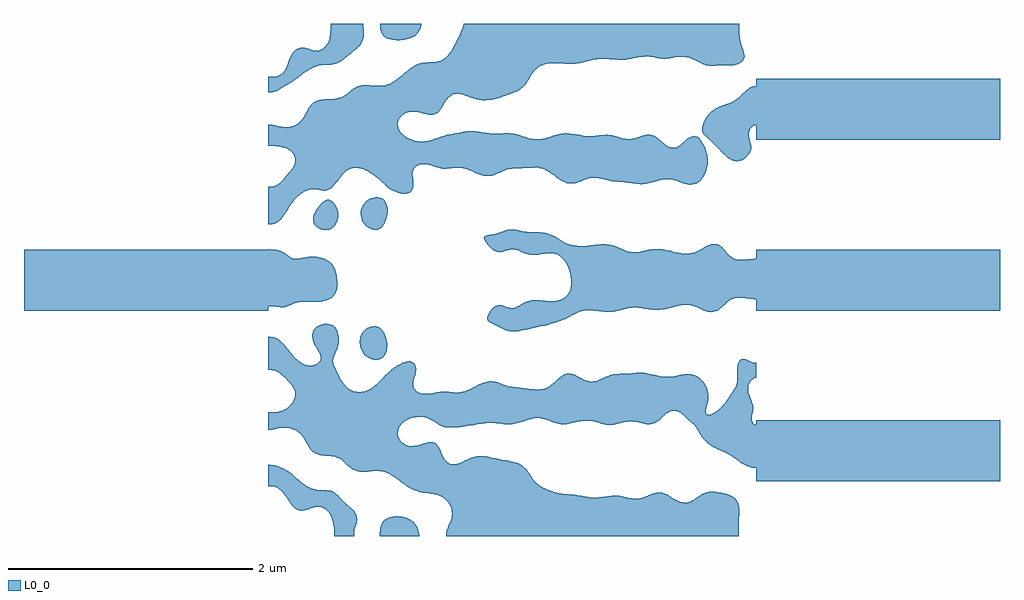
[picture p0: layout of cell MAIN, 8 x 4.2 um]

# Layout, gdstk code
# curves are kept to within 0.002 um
import gdstk
lib = gdstk.Library(unit=1e-6, precision=1e-09)
def R(c, l, rs):  # rectangles x0, y0, x1, y1
    for r in rs: c.add(gdstk.rectangle(r[:2], r[2:], *l))
def A(c, l, x, y, w, h, nx, ny, dx, dy):  # array of equal rectangles
    R(c, l, [(x+i*dx, y+j*dy, x+i*dx+w, y+j*dy+h) for i in range(nx) for j in range(ny)])
def P(c, l, *ps):  # polygons
    for p in ps: c.add(gdstk.Polygon(p, *l))
L0_0 = (0, 0)

main = lib.new_cell('MAIN')
A(main, L0_0, 2, -1.65, 2, 0.5, 1, 3, 0, 1.4)
R(main, L0_0, [(-4,-0.25,-2,0.25)])
P(main, L0_0, [(-1.967,1.54),(-1.933,1.549),(-1.817,1.615),(-1.7,1.701),(-1.633,1.74),(-1.6,1.754),(-1.567,1.762),(-1.5,1.764),(-1.45,1.773),(-1.422,1.783),(-1.383,1.807),(-1.27,1.9),(-1.241,1.933),(-1.23,1.95),(-1.218,1.983),(-1.215,2),(-1.22,2.1),(-1.485,2.1),(-1.489,2.017),(-1.5,1.967),(-1.516,1.933),(-1.533,1.91),(-1.55,1.895),(-1.583,1.88),(-1.6,1.879),(-1.617,1.88),(-1.7,1.903),(-1.733,1.903),(-1.767,1.891),(-1.783,1.877),(-1.804,1.85),(-1.854,1.733),(-1.883,1.693),(-1.9,1.681),(-1.933,1.668),(-2,1.664),(-2,1.538)],
  [(-0.917,1.967),(-0.85,1.976),(-0.833,1.981),(-0.8,1.998),(-0.783,2.012),(-0.765,2.033),(-0.749,2.067),(-0.744,2.1),(-1.081,2.1),(-1.078,2.05),(-1.073,2.033),(-1.067,2.02),(-1.05,1.998),(-1.029,1.983),(-1,1.973),(-0.967,1.968)],
  [(-1.967,0.456),(-1.933,0.468),(-1.917,0.478),(-1.893,0.5),(-1.866,0.533),(-1.789,0.65),(-1.75,0.692),(-1.717,0.717),(-1.667,0.739),(-1.633,0.744),(-1.583,0.741),(-1.533,0.732),(-1.5,0.742),(-1.483,0.754),(-1.45,0.787),(-1.388,0.867),(-1.367,0.888),(-1.35,0.9),(-1.333,0.909),(-1.3,0.919),(-1.283,0.921),(-1.25,0.916),(-1.25,1.592),(-1.267,1.586),(-1.3,1.567),(-1.367,1.514),(-1.4,1.497),(-1.45,1.485),(-1.567,1.477),(-1.6,1.469),(-1.617,1.46),(-1.633,1.45),(-1.65,1.434),(-1.673,1.4),(-1.707,1.333),(-1.733,1.3),(-1.753,1.283),(-1.783,1.265),(-1.817,1.255),(-1.85,1.251),(-1.867,1.252),(-1.95,1.269),(-2,1.272),(-2,1.099),(-1.917,1.096),(-1.883,1.09),(-1.833,1.07),(-1.807,1.05),(-1.793,1.033),(-1.783,1.017),(-1.776,0.983),(-1.781,0.95),(-1.798,0.917),(-1.896,0.8),(-1.933,0.775),(-1.967,0.765),(-2,0.763),(-2,0.455)],
  [(-0.85,0.71),(-0.833,0.719),(-0.821,0.733),(-0.812,0.75),(-0.808,0.783),(-0.815,0.85),(-0.814,0.883),(-0.81,0.9),(-0.801,0.917),(-0.783,0.933),(-0.767,0.942),(-0.75,0.947),(-0.717,0.949),(-0.683,0.944),(-0.583,0.916),(-0.55,0.912),(-0.55,1.184),(-0.683,1.141),(-0.733,1.134),(-0.783,1.139),(-0.817,1.148),(-0.85,1.162),(-0.9,1.197),(-0.917,1.217),(-0.926,1.233),(-0.937,1.267),(-0.933,1.3),(-0.927,1.317),(-0.917,1.333),(-0.9,1.351),(-0.867,1.371),(-0.817,1.38),(-0.783,1.378),(-0.7,1.357),(-0.65,1.353),(-0.633,1.357),(-0.614,1.367),(-0.6,1.378),(-0.583,1.398),(-0.55,1.456),(-0.55,1.816),(-0.583,1.796),(-0.6,1.791),(-0.633,1.785),(-0.717,1.782),(-0.75,1.776),(-0.778,1.767),(-0.833,1.734),(-0.917,1.664),(-0.967,1.628),(-1,1.61),(-1.033,1.598),(-1.083,1.591),(-1.183,1.597),(-1.217,1.597),(-1.25,1.592),(-1.25,0.916),(-1.204,0.9),(-1.145,0.867),(-1.083,0.82),(-1.017,0.758),(-0.983,0.736),(-0.933,0.716),(-0.9,0.707),(-0.867,0.706)],
  [(-0.543,1.467),(-0.517,1.5),(-0.5,1.512),(-0.483,1.521),(-0.45,1.526),(-0.4,1.518),(-0.333,1.494),(-0.267,1.477),(-0.217,1.474),(-0.167,1.478),(-0.1,1.495),(0.008,1.533),(0.067,1.562),(0.092,1.583),(0.117,1.612),(0.15,1.668),(0.15,2.1),(-0.397,2.1),(-0.399,2.083),(-0.411,2.05),(-0.476,1.917),(-0.517,1.851),(-0.531,1.833),(-0.55,1.816),(-0.55,1.456)],
  [(-0.167,0.855),(-0.133,0.865),(-0.067,0.896),(-0.033,0.907),(0,0.913),(0.15,0.92),(0.15,1.159),(0.05,1.19),(0,1.2),(-0.05,1.203),(-0.133,1.197),(-0.167,1.198),(-0.279,1.217),(-0.317,1.22),(-0.382,1.217),(-0.483,1.2),(-0.55,1.184),(-0.55,0.912),(-0.467,0.921),(-0.417,0.92),(-0.367,0.908),(-0.25,0.86),(-0.217,0.854)],
  [(0.159,1.683),(0.183,1.716),(0.217,1.745),(0.25,1.762),(0.283,1.772),(0.367,1.778),(0.45,1.773),(0.517,1.773),(0.567,1.78),(0.667,1.806),(0.7,1.811),(0.767,1.814),(0.9,1.805),(0.95,1.809),(1.033,1.826),(1.033,2.1),(0.15,2.1),(0.15,1.668)],
  [(0.183,0.921),(0.217,0.919),(0.267,0.906),(0.3,0.889),(0.4,0.817),(0.435,0.8),(0.467,0.791),(0.517,0.793),(0.633,0.836),(0.683,0.839),(0.717,0.834),(0.817,0.81),(0.917,0.803),(1.033,0.787),(1.033,1.17),(1,1.159),(0.95,1.155),(0.917,1.159),(0.833,1.182),(0.8,1.188),(0.767,1.189),(0.667,1.179),(0.617,1.179),(0.467,1.2),(0.433,1.201),(0.4,1.198),(0.35,1.188),(0.283,1.164),(0.25,1.156),(0.2,1.152),(0.15,1.159),(0.15,0.92)],
  [(1.083,1.831),(1.117,1.83),(1.25,1.814),(1.367,1.828),(1.4,1.83),(1.433,1.827),(1.467,1.818),(1.567,1.768),(1.583,1.762),(1.617,1.757),(1.783,1.76),(1.833,1.764),(1.85,1.769),(1.88,1.783),(1.895,1.8),(1.903,1.817),(1.906,1.833),(1.901,1.867),(1.878,1.933),(1.865,2),(1.861,2.1),(1.033,2.1),(1.033,1.826)],
  [(1.483,0.783),(1.525,0.8),(1.561,0.833),(1.573,0.85),(1.589,0.883),(1.601,0.933),(1.603,1),(1.589,1.067),(1.567,1.114),(1.532,1.167),(1.517,1.175),(1.5,1.178),(1.483,1.177),(1.467,1.172),(1.43,1.15),(1.367,1.098),(1.35,1.09),(1.317,1.085),(1.283,1.092),(1.268,1.1),(1.19,1.167),(1.15,1.188),(1.117,1.192),(1.1,1.19),(1.033,1.17),(1.033,0.787),(1.067,0.786),(1.1,0.789),(1.217,0.82),(1.25,0.826),(1.283,0.827),(1.317,0.823),(1.4,0.793),(1.437,0.783)],
  [(1.867,0.976),(1.886,0.983),(1.917,1.004),(1.944,1.033),(1.961,1.067),(1.962,1.1),(1.947,1.15),(1.942,1.2),(1.949,1.233),(1.961,1.25),(1.983,1.265),(2,1.268),(2,1.589),(1.967,1.582),(1.933,1.563),(1.867,1.502),(1.817,1.466),(1.783,1.45),(1.7,1.421),(1.65,1.393),(1.619,1.367),(1.592,1.333),(1.575,1.3),(1.564,1.267),(1.56,1.233),(1.561,1.217),(1.568,1.2),(1.583,1.183),(1.633,1.139),(1.735,1.033),(1.772,1),(1.8,0.983),(1.833,0.974)],
  [(-1.1,0.413),(-1.083,0.42),(-1.067,0.433),(-1.045,0.467),(-1.026,0.517),(-1.02,0.55),(-1.02,0.583),(-1.026,0.617),(-1.033,0.634),(-1.05,0.658),(-1.061,0.667),(-1.083,0.676),(-1.117,0.678),(-1.15,0.672),(-1.161,0.667),(-1.183,0.655),(-1.207,0.633),(-1.219,0.617),(-1.234,0.583),(-1.238,0.567),(-1.239,0.533),(-1.237,0.517),(-1.226,0.483),(-1.2,0.446),(-1.183,0.432),(-1.15,0.416),(-1.117,0.411)],
  [(-1.517,0.41),(-1.483,0.42),(-1.464,0.433),(-1.45,0.449),(-1.433,0.485),(-1.426,0.517),(-1.428,0.567),(-1.44,0.6),(-1.45,0.617),(-1.467,0.636),(-1.483,0.649),(-1.5,0.657),(-1.517,0.657),(-1.534,0.65),(-1.567,0.622),(-1.609,0.567),(-1.625,0.533),(-1.629,0.517),(-1.629,0.483),(-1.624,0.467),(-1.617,0.453),(-1.598,0.433),(-1.567,0.416),(-1.55,0.411)],
  [(0.2,0.206),(0.277,0.218),(0.277,0.383),(0.233,0.39),(0.117,0.394),(0.017,0.413),(-0.017,0.413),(-0.05,0.406),(-0.133,0.38),(-0.201,0.367),(-0.217,0.362),(-0.232,0.35),(-0.228,0.333),(-0.22,0.317),(-0.196,0.283),(-0.167,0.255),(-0.133,0.236),(-0.117,0.231),(-0.083,0.23),(-0.017,0.25),(0.017,0.252),(0.05,0.243),(0.133,0.21),(0.167,0.205)],
  [(0.033,-0.422),(0.277,-0.371),(0.277,-0.173),(0.217,-0.165),(0.167,-0.166),(0.133,-0.173),(0.107,-0.183),(0.044,-0.217),(0.017,-0.227),(-0.017,-0.229),(-0.067,-0.213),(-0.1,-0.207),(-0.133,-0.214),(-0.15,-0.224),(-0.167,-0.239),(-0.188,-0.267),(-0.202,-0.3),(-0.204,-0.317),(-0.2,-0.329),(-0.183,-0.347),(-0.067,-0.403),(-0.033,-0.416),(0,-0.422)],
  [(0.283,-0.37),(0.4,-0.334),(0.45,-0.312),(0.533,-0.267),(0.583,-0.251),(0.633,-0.246),(0.75,-0.26),(0.817,-0.26),(0.867,-0.253),(0.938,-0.233),(0.967,-0.228),(0.967,0.231),(0.917,0.247),(0.85,0.275),(0.783,0.29),(0.683,0.288),(0.633,0.281),(0.567,0.277),(0.504,0.283),(0.433,0.306),(0.33,0.367),(0.277,0.383),(0.277,0.218),(0.317,0.221),(0.349,0.217),(0.383,0.203),(0.417,0.174),(0.45,0.129),(0.471,0.083),(0.482,0.033),(0.486,-0.017),(0.482,-0.067),(0.471,-0.1),(0.46,-0.117),(0.433,-0.142),(0.4,-0.161),(0.367,-0.172),(0.333,-0.176),(0.277,-0.173),(0.277,-0.371)],
  [(1,-0.225),(1.033,-0.226),(1.15,-0.242),(1.2,-0.243),(1.267,-0.236),(1.383,-0.206),(1.433,-0.202),(1.483,-0.21),(1.573,-0.25),(1.6,-0.259),(1.633,-0.263),(1.65,-0.262),(1.685,-0.25),(1.717,-0.227),(1.762,-0.183),(1.783,-0.167),(1.823,-0.15),(1.85,-0.145),(1.883,-0.144),(2,-0.157),(2,0.173),(1.883,0.165),(1.833,0.171),(1.804,0.183),(1.783,0.198),(1.717,0.274),(1.7,0.286),(1.683,0.293),(1.667,0.295),(1.633,0.292),(1.617,0.286),(1.5,0.228),(1.467,0.219),(1.433,0.214),(1.4,0.216),(1.25,0.248),(1.2,0.254),(1.167,0.254),(1.137,0.25),(1.033,0.228),(1,0.227),(0.967,0.231),(0.967,-0.228)],
  [(-1.867,-0.222),(-1.843,-0.217),(-1.783,-0.191),(-1.75,-0.181),(-1.717,-0.178),(-1.6,-0.18),(-1.55,-0.176),(-1.5,-0.159),(-1.467,-0.134),(-1.452,-0.117),(-1.443,-0.1),(-1.433,-0.069),(-1.43,-0.033),(-1.433,0.004),(-1.445,0.067),(-1.466,0.117),(-1.483,0.138),(-1.5,0.153),(-1.533,0.173),(-1.583,0.187),(-1.617,0.19),(-1.667,0.189),(-1.75,0.175),(-1.783,0.174),(-1.811,0.183),(-1.855,0.217),(-1.883,0.233),(-1.933,0.247),(-2,0.251),(-2,-0.214)],
  [(-1.436,-0.75),(-1.46,-0.7),(-1.468,-0.667),(-1.463,-0.633),(-1.436,-0.574),(-1.436,-0.411),(-1.455,-0.383),(-1.483,-0.365),(-1.5,-0.361),(-1.533,-0.36),(-1.567,-0.367),(-1.599,-0.383),(-1.618,-0.4),(-1.628,-0.417),(-1.635,-0.433),(-1.637,-0.45),(-1.634,-0.483),(-1.623,-0.517),(-1.577,-0.6),(-1.566,-0.633),(-1.567,-0.65),(-1.575,-0.667),(-1.583,-0.676),(-1.6,-0.689),(-1.633,-0.701),(-1.667,-0.703),(-1.717,-0.687),(-1.767,-0.65),(-1.8,-0.614),(-1.864,-0.533),(-1.9,-0.498),(-1.933,-0.477),(-1.95,-0.471),(-2,-0.466),(-2,-0.737),(-1.967,-0.738),(-1.933,-0.747),(-1.9,-0.766),(-1.878,-0.783),(-1.829,-0.833),(-1.8,-0.869),(-1.783,-0.9),(-1.776,-0.933),(-1.78,-0.967),(-1.795,-1),(-1.808,-1.017),(-1.844,-1.05),(-1.883,-1.071),(-1.917,-1.081),(-1.95,-1.085),(-2,-1.086),(-2,-1.226),(-1.967,-1.226),(-1.9,-1.213),(-1.85,-1.21),(-1.817,-1.216),(-1.783,-1.228),(-1.747,-1.25),(-1.714,-1.283),(-1.667,-1.368),(-1.65,-1.391),(-1.617,-1.419),(-1.567,-1.436),(-1.467,-1.445),(-1.436,-1.455)],
  [(-1.433,-0.568),(-1.423,-0.533),(-1.419,-0.5),(-1.419,-0.483),(-1.423,-0.45),(-1.427,-0.433),(-1.436,-0.411),(-1.436,-0.574)],
  [(-0.767,-1.354),(-0.8,-1.36),(-0.833,-1.361),(-0.867,-1.353),(-0.883,-1.344),(-0.9,-1.332),(-0.925,-1.3),(-0.935,-1.267),(-0.936,-1.25),(-0.934,-1.233),(-0.921,-1.2),(-0.9,-1.174),(-0.883,-1.16),(-0.867,-1.149),(-0.83,-1.133),(-0.8,-1.125),(-0.767,-1.121),(-0.767,-0.921),(-0.793,-0.9),(-0.805,-0.883),(-0.81,-0.867),(-0.81,-0.833),(-0.79,-0.767),(-0.786,-0.733),(-0.792,-0.7),(-0.803,-0.683),(-0.817,-0.673),(-0.833,-0.667),(-0.85,-0.666),(-0.9,-0.68),(-0.936,-0.7),(-0.985,-0.733),(-1.017,-0.761),(-1.105,-0.85),(-1.15,-0.886),(-1.183,-0.904),(-1.217,-0.914),(-1.25,-0.919),(-1.3,-0.911),(-1.317,-0.905),(-1.35,-0.884),(-1.367,-0.868),(-1.392,-0.833),(-1.436,-0.75),(-1.436,-1.455),(-1.417,-1.463),(-1.387,-1.483),(-1.333,-1.532),(-1.308,-1.55),(-1.267,-1.567),(-1.217,-1.572),(-1.133,-1.564),(-1.1,-1.564),(-1.067,-1.568),(-1.033,-1.577),(-0.983,-1.603),(-0.846,-1.7),(-0.814,-1.717),(-0.767,-1.734)],
  [(-0.467,-1.207),(-0.333,-1.192),(-0.217,-1.173),(-0.15,-1.172),(-0.117,-1.175),(-0.117,-0.84),(-0.167,-0.83),(-0.217,-0.837),(-0.25,-0.848),(-0.367,-0.905),(-0.433,-0.922),(-0.467,-0.923),(-0.567,-0.915),(-0.667,-0.931),(-0.717,-0.934),(-0.767,-0.921),(-0.767,-1.121),(-0.733,-1.122),(-0.7,-1.129),(-0.65,-1.153),(-0.583,-1.194),(-0.55,-1.206)],
  [(-0.117,-1.466),(-0.217,-1.446),(-0.283,-1.445),(-0.35,-1.464),(-0.45,-1.508),(-0.467,-1.511),(-0.5,-1.509),(-0.517,-1.503),(-0.533,-1.491),(-0.554,-1.467),(-0.6,-1.371),(-0.615,-1.35),(-0.633,-1.336),(-0.65,-1.33),(-0.683,-1.33),(-0.767,-1.354),(-0.767,-1.734),(-0.733,-1.742),(-0.633,-1.756),(-0.6,-1.765),(-0.583,-1.772),(-0.55,-1.793),(-0.533,-1.809),(-0.515,-1.833),(-0.494,-1.883),(-0.492,-1.933),(-0.5,-1.967),(-0.533,-2.05),(-0.537,-2.067),(-0.538,-2.1),(-0.117,-2.1)],
  [(0,-1.182),(0.05,-1.172),(0.15,-1.14),(0.183,-1.133),(0.217,-1.131),(0.267,-1.14),(0.35,-1.171),(0.4,-1.182),(0.45,-1.181),(0.483,-1.176),(0.55,-1.159),(0.617,-1.152),(0.667,-1.157),(0.75,-1.181),(0.75,-0.803),(0.7,-0.824),(0.65,-0.832),(0.617,-0.827),(0.587,-0.817),(0.517,-0.778),(0.5,-0.772),(0.467,-0.767),(0.45,-0.769),(0.414,-0.783),(0.383,-0.806),(0.317,-0.864),(0.3,-0.875),(0.267,-0.89),(0.217,-0.899),(0.1,-0.889),(-0.017,-0.874),(-0.117,-0.84),(-0.117,-1.175),(-0.05,-1.183)],
  [(0.75,-1.777),(0.683,-1.784),(0.633,-1.78),(0.517,-1.762),(0.417,-1.754),(0.35,-1.739),(0.3,-1.723),(0.25,-1.701),(0.202,-1.667),(0.16,-1.617),(0.14,-1.583),(0.117,-1.553),(0.097,-1.533),(0.067,-1.512),(0.017,-1.492),(-0.117,-1.466),(-0.117,-2.1),(0.75,-2.1)],
  [(1.551,-0.817),(1.517,-0.79),(1.503,-0.783),(1.483,-0.776),(1.45,-0.771),(1.4,-0.775),(1.333,-0.79),(1.267,-0.794),(1.217,-0.789),(1.1,-0.764),(1.033,-0.761),(0.833,-0.774),(0.796,-0.783),(0.767,-0.795),(0.75,-0.803),(0.75,-1.181),(0.783,-1.188),(0.817,-1.188),(0.85,-1.183),(0.933,-1.162),(0.967,-1.159),(1.017,-1.162),(1.1,-1.181),(1.15,-1.18),(1.167,-1.175),(1.2,-1.155),(1.258,-1.1),(1.283,-1.083),(1.317,-1.073),(1.333,-1.073),(1.367,-1.081),(1.383,-1.09),(1.4,-1.102),(1.489,-1.183),(1.517,-1.22),(1.551,-1.276)],
  [(1.551,-1.758),(1.483,-1.805),(1.45,-1.82),(1.417,-1.825),(1.383,-1.82),(1.35,-1.807),(1.267,-1.757),(1.217,-1.742),(1.2,-1.741),(1.167,-1.746),(1.1,-1.774),(1.067,-1.785),(1.033,-1.791),(1,-1.792),(0.967,-1.788),(0.917,-1.775),(0.85,-1.767),(0.75,-1.777),(0.75,-2.1),(1.551,-2.1)],
  [(2,-1.187),(1.983,-1.181),(1.967,-1.15),(1.966,-1.117),(1.977,-1.067),(1.978,-1.033),(1.947,-0.95),(1.935,-0.9),(1.937,-0.867),(1.953,-0.833),(1.983,-0.806),(2,-0.802),(2,-0.68),(1.967,-0.673),(1.917,-0.65),(1.9,-0.646),(1.883,-0.648),(1.867,-0.658),(1.854,-0.683),(1.849,-0.7),(1.846,-0.733),(1.847,-0.833),(1.837,-0.867),(1.829,-0.883),(1.752,-1),(1.717,-1.043),(1.667,-1.085),(1.634,-1.1),(1.617,-1.104),(1.6,-1.103),(1.595,-1.1),(1.587,-1.083),(1.608,-0.983),(1.606,-0.917),(1.588,-0.867),(1.567,-0.835),(1.551,-0.817),(1.551,-1.276),(1.583,-1.316),(1.601,-1.333),(1.65,-1.369),(1.782,-1.433),(1.883,-1.502),(1.91,-1.517),(1.967,-1.537),(2,-1.54)],
  [(1.86,-1.95),(1.862,-1.883),(1.856,-1.833),(1.837,-1.8),(1.817,-1.781),(1.783,-1.763),(1.767,-1.758),(1.717,-1.745),(1.65,-1.735),(1.633,-1.734),(1.6,-1.738),(1.551,-1.758),(1.551,-2.1),(1.86,-2.1)],
  [(-1.1,-0.654),(-1.085,-0.65),(-1.057,-0.633),(-1.043,-0.617),(-1.033,-0.598),(-1.023,-0.55),(-1.026,-0.5),(-1.049,-0.433),(-1.074,-0.4),(-1.106,-0.383),(-1.133,-0.38),(-1.156,-0.383),(-1.183,-0.393),(-1.2,-0.404),(-1.217,-0.42),(-1.236,-0.45),(-1.245,-0.483),(-1.246,-0.517),(-1.242,-0.55),(-1.237,-0.567),(-1.217,-0.603),(-1.205,-0.617),(-1.183,-0.634),(-1.167,-0.643),(-1.133,-0.654)],
  [(-1.295,-2.083),(-1.291,-2.05),(-1.276,-2),(-1.27,-1.967),(-1.274,-1.933),(-1.279,-1.917),(-1.304,-1.883),(-1.367,-1.829),(-1.444,-1.75),(-1.483,-1.729),(-1.517,-1.724),(-1.6,-1.72),(-1.65,-1.706),(-1.683,-1.69),(-1.717,-1.668),(-1.8,-1.592),(-1.85,-1.558),(-1.917,-1.528),(-1.95,-1.52),(-2,-1.516),(-2,-1.689),(-1.95,-1.693),(-1.933,-1.7),(-1.9,-1.721),(-1.883,-1.736),(-1.857,-1.767),(-1.817,-1.827),(-1.785,-1.867),(-1.75,-1.888),(-1.717,-1.892),(-1.683,-1.885),(-1.633,-1.865),(-1.6,-1.858),(-1.567,-1.86),(-1.55,-1.867),(-1.533,-1.876),(-1.507,-1.9),(-1.478,-1.95),(-1.458,-2.033),(-1.455,-2.1),(-1.295,-2.1)],
  [(-0.762,-2.083),(-0.763,-2.067),(-0.773,-2.033),(-0.781,-2.017),(-0.808,-1.983),(-0.833,-1.964),(-0.85,-1.956),(-0.883,-1.944),(-0.9,-1.941),(-0.933,-1.938),(-0.967,-1.939),(-1.017,-1.951),(-1.033,-1.96),(-1.059,-1.983),(-1.069,-2),(-1.079,-2.033),(-1.082,-2.1),(-0.762,-2.1)])

lib.write_gds('MAIN.gds')
